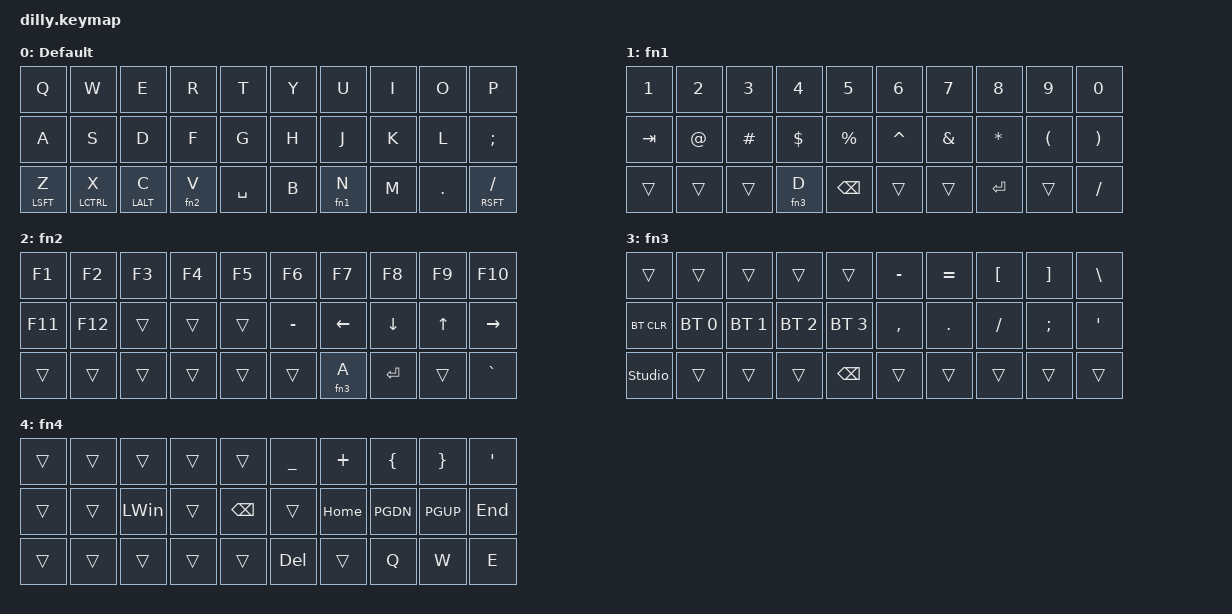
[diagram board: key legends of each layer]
/*
 * Copyright (c) 2025 Keebio
 *
 * SPDX-License-Identifier: MIT
 */

#include <behaviors.dtsi>
#include <dt-bindings/zmk/keys.h>
#include <dt-bindings/zmk/bt.h>
#include <dt-bindings/zmk/outputs.h>

// #include <dt-bindings/zmk/mouse.h>

#define DEFAULT 0
#define fn1 1
#define fn2 2
#define fn3 3
#define fn4 4

/ {
    keymap {
        compatible = "zmk,keymap";
        label = "DILLY";

        default_layer {
            display-name = "Default";
            bindings = <
                &kp Q       &kp W       &kp E       &kp R       &kp T       &kp Y    &kp U       &kp I     &kp O      &kp P
                &kp A       &kp S       &kp D       &kp F       &kp G       &kp H    &kp J       &kp K     &kp L      &kp SEMI
                &lt LSFT Z  &lt LCTRL X &lt LALT C  &lt fn2 V   &kp SPACE   &kp B    &lt fn1 N   &kp M     &kp DOT    &lt RSFT FSLH
            >;
        };

        fn1_layer {
            display-name = "fn1";
            bindings = <
                &kp N1    &kp N2    &kp N3    &kp N4    &kp N5    &kp N6     &kp N7      &kp N8      &kp N9     &kp N0
                &kp TAB   &kp AT    &kp HASH  &kp DLLR  &kp PRCNT &kp CARET  &kp AMPS    &kp ASTRK   &kp LPAR   &kp RPAR
                &trans    &trans    &trans    &lt fn3 D &kp BSPC  &trans     &trans      &kp ENTER   &trans     &kp FSLH
            >;
        };

        fn2_layer {
            display-name = "fn2";
            bindings = <
                &kp F1    &kp F2    &kp F3    &kp F4    &kp F5    &kp F6      &kp F7     &kp F8    &kp F9    &kp F10
                &kp F11   &kp F12   &trans    &trans    &trans    &kp MINUS   &kp LEFT   &kp DOWN  &kp UP    &kp RIGHT
                &trans    &trans    &trans    &trans   &trans     &trans      &lt fn3 A  &kp ENTER &trans    &kp GRAVE
            >;
        };

        fn3_layer {
            display-name = "fn3";
            bindings = <
                // Navigation and symbols
                &trans          &trans       &trans       &trans       &trans       &kp MINUS &kp EQUAL &kp LBKT &kp RBKT &kp BSLH
                &bt BT_CLR      &bt BT_SEL 0 &bt BT_SEL 1 &bt BT_SEL 2 &bt BT_SEL 3 &kp COMMA &kp DOT   &kp FSLH &kp SCLN &kp QUOT
                &studio_unlock  &trans       &trans       &trans       &kp BSPC     &trans    &trans    &trans   &trans   &trans
            >;
        };

        fn4_layer {
            display-name = "fn4";
            bindings = <
                // More symbols
                &trans    &trans    &trans    &trans    &trans    &kp UNDER &kp PLUS  &kp LBRC &kp RBRC &kp SQT
                &trans    &trans    &kp LWIN  &trans    &kp BSPC  &trans    &kp HOME  &kp PGDN &kp PGUP &kp END
                &trans    &trans    &trans    &trans    &trans    &kp DEL   &trans    &kp Q    &kp W    &kp E
            >;
        };
    };

    behaviors {
        // Define any custom behaviors here
    };
};
